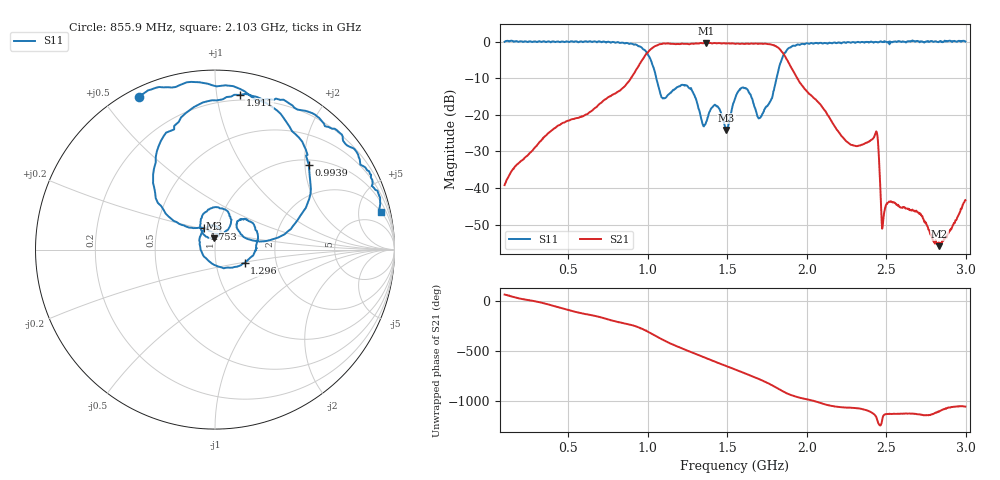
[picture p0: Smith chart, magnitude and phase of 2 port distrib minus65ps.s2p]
# HZ S RI R 50
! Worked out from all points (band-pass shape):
!   1009 points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, 100 MHz to 2.997 GHz, reference 50 ohm
!   highest |S21| = -0.32 dB at 1.367 GHz (marker M1); lowest = -55.9 dB at 2.833 GHz (marker M2)
!   |S21| within 3 dB of the highest: 990.6 MHz to 1.854 GHz (863.1 MHz wide, 60.7 % of centre)
!   lowest |S11| = -24.2 dB at 1.494 GHz (marker M3), VSWR 1.13, Z = 49.2 + j6.12 ohm
!   |S11| at or under -10 dB: 1.054 GHz to 1.81 GHz (756 MHz wide, 52.8 % of centre)
!   S12 and S22 are empty: the file has one direction only
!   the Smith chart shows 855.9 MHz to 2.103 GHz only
!   S11 on the Smith chart (normalised r, x): 855.9 MHz: 0.04, +0.62; 993.9 MHz: 1.13, +2.10; 1.296 GHz: 1.37, -0.21; 1.753 GHz: 0.86, +0.21; 1.911 GHz: 0.16, +1.16; 2.103 GHz: 2.09, +8.46
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1e8  -0.7741 0.6302  0.00482 0.00984  0 0  0 0
2.465808e8  0.2405 0.9634  0.0278 0.0045  0 0  0 0
3.81665e8  1.004 0.035  0.0455 -0.0353  0 0  0 0
5.828543e8  -0.4763 -0.8884  -0.0504 -0.0805  0 0  0 0
8.55897e8  -0.421 0.8486  -0.1777 0.1703  0 0  0 0
9.938554e8  0.5233 0.4703  0.3498 0.5925  0 0  0 0
1.065709e9  0.2488 0.0449  0.9071 -0.0381  0 0  0 0
1.172052e9  0.1496 0.1708  0.0976 -0.9198  0 0  0 0
1.295639e9  0.1644 -0.0753  -0.9075 -0.2539  0 0  0 0
1.367493e9  -0.0802 -0.000807  -0.8374 0.4782  0 0  0 0
1.493955e9  -0.00394 0.0619  0.2962 0.8973  0 0  0 0
1.548563e9  -0.0803 0.1446  0.7369 0.577  0 0  0 0
1.752626e9  -0.0595 0.1181  -0.0991 -0.919  0 0  0 0
1.82448e9  -0.3304 0.2867  -0.7485 -0.3195  0 0  0 0
1.910704e9  0.1413 0.8616  -0.304 0.2757  0 0  0 0
2.031417e9  0.7975 0.529  0.00143 0.1808  0 0  0 0
2.103271e9  0.9238 0.2085  0.0681 0.1015  0 0  0 0
2.433796e9  0.473 -0.8746  0.0195 -0.0534  0 0  0 0
2.476908e9  0.3289 -0.9297  0.000441 -0.00295  0 0  0 0
2.514272e9  0.1914 -0.9795  0.00459 -0.00446  0 0  0 0
2.8333e9  -0.8367 -0.5505  0.0015 -0.000557  0 0  0 0
2.997126e9  -1.005 0.0129  0.00601 0.00324  0 0  0 0
